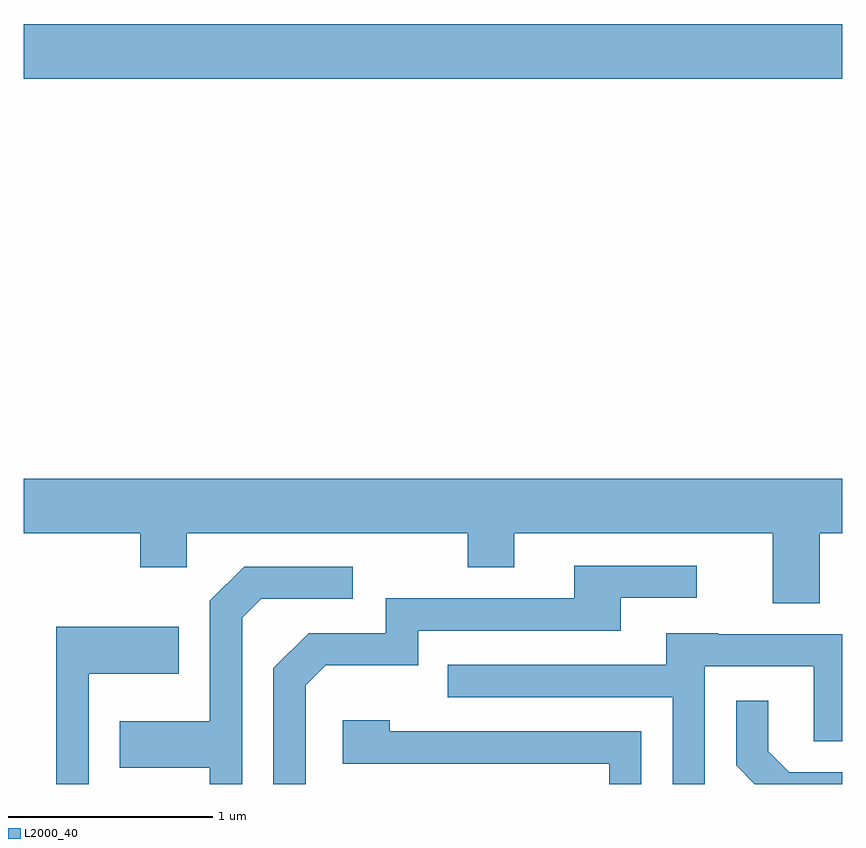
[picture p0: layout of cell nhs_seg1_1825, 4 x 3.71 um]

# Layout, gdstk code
import gdstk
lib = gdstk.Library(unit=1e-6, precision=1e-09)
def R(c, l, rs):  # rectangles x0, y0, x1, y1
    for r in rs: c.add(gdstk.rectangle(r[:2], r[2:], *l))
def P(c, l, *ps):  # polygons
    for p in ps: c.add(gdstk.Polygon(p, *l))
L2000_40 = (2000, 40)

nhs_seg1_1825 = lib.new_cell('nhs_seg1_1825')
R(nhs_seg1_1825, L2000_40, [(241.611,875.156,245.611,875.424)])
P(nhs_seg1_1825, L2000_40, [(245.499,872.936),(245.611,872.936),(245.611,873.204),(241.611,873.204),(241.611,872.936),(242.181,872.936),(242.181,872.771),(242.409,872.771),(242.409,872.936),(243.781,872.936),(243.781,872.771),(244.009,872.771),(244.009,872.936),(245.271,872.936),(245.271,872.596),(245.499,872.596)],
  [(242.989,872.194),(243.087,872.291),(243.539,872.291),(243.539,872.461),(244.529,872.461),(244.529,872.621),(244.898,872.621),(244.898,872.779),(244.301,872.779),(244.301,872.619),(243.381,872.619),(243.381,872.449),(243.004,872.449),(242.831,872.277),(242.831,871.712),(242.989,871.712)],
  [(242.679,872.524),(242.772,872.616),(243.218,872.616),(243.218,872.774),(242.689,872.774),(242.521,872.607),(242.521,872.019),(242.081,872.019),(242.081,871.791),(242.521,871.791),(242.521,871.712),(242.679,871.712)],
  [(241.929,872.251),(242.369,872.251),(242.369,872.479),(241.771,872.479),(241.771,871.712),(241.929,871.712)],
  [(244.939,872.286),(245.471,872.286),(245.471,871.921),(245.611,871.921),(245.611,872.444),(245.005,872.444),(245.005,872.449),(244.751,872.449),(244.751,872.294),(243.683,872.294),(243.683,872.136),(244.781,872.136),(244.781,871.712),(244.939,871.712)],
  [(245.611,871.769),(245.352,871.769),(245.249,871.872),(245.249,872.118),(245.091,872.118),(245.091,871.804),(245.183,871.712),(245.611,871.712)],
  [(244.629,871.969),(243.399,871.969),(243.399,872.024),(243.171,872.024),(243.171,871.811),(244.471,871.811),(244.471,871.712),(244.629,871.712)])

lib.write_gds('nhs_seg1_1825.gds')
